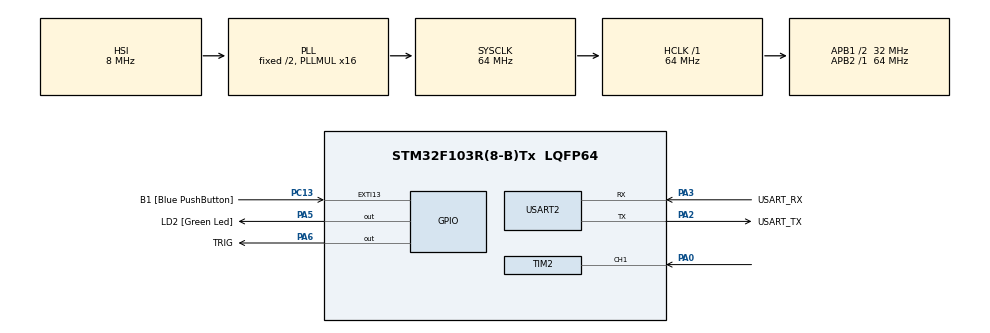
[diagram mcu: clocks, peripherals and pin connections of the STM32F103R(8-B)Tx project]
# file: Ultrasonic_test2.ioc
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Mcu.Family=STM32F1
Mcu.Name=STM32F103R(8-B)Tx
Mcu.Package=LQFP64
NVIC.EXTI15_10_IRQn=true\:0\:0\:false\:false\:true\:true\:true\:true
NVIC.PriorityGroup=NVIC_PRIORITYGROUP_4
NVIC.TIM2_IRQn=true\:0\:0\:false\:false\:true\:true\:true\:true
PA0-WKUP.Signal=S_TIM2_CH1_ETR
PA13.GPIO_Label=TMS
PA13.Mode=Serial_Wire
PA13.Signal=SYS_JTMS-SWDIO
PA14.GPIO_Label=TCK
PA14.Mode=Serial_Wire
PA14.Signal=SYS_JTCK-SWCLK
PA2.GPIO_Label=USART_TX
PA2.GPIO_Mode=GPIO_MODE_AF_PP
PA2.GPIO_PuPd=GPIO_NOPULL
PA2.GPIO_Speed=GPIO_SPEED_FREQ_LOW
PA2.Mode=Asynchronous
PA2.Signal=USART2_TX
PA3.GPIO_Label=USART_RX
PA3.GPIO_Mode=GPIO_MODE_AF_PP
PA3.GPIO_PuPd=GPIO_NOPULL
PA3.GPIO_Speed=GPIO_SPEED_FREQ_LOW
PA3.Mode=Asynchronous
PA3.Signal=USART2_RX
PA5.GPIO_Label=LD2 [Green Led]
PA5.GPIO_ModeDefaultOutputPP=GPIO_MODE_OUTPUT_PP
PA5.GPIO_PuPd=GPIO_NOPULL
PA5.GPIO_Speed=GPIO_SPEED_FREQ_LOW
PA5.Signal=GPIO_Output
PA6.GPIO_Label=TRIG
PA6.Signal=GPIO_Output
PB3.GPIO_Label=SWO
PB3.Signal=SYS_JTDO-TRACESWO
PC13-TAMPER-RTC.GPIO_Label=B1 [Blue PushButton]
PC13-TAMPER-RTC.GPIO_PuPd=GPIO_NOPULL
PC13-TAMPER-RTC.Signal=GPXTI13
PC14-OSC32_IN.Mode=LSE-External-Oscillator
PC14-OSC32_IN.Signal=RCC_OSC32_IN
PC15-OSC32_OUT.Mode=LSE-External-Oscillator
PC15-OSC32_OUT.Signal=RCC_OSC32_OUT
PD0-OSC_IN.Mode=HSE-External-Clock-Source
PD0-OSC_IN.Signal=RCC_OSC_IN
PD1-OSC_OUT.Mode=HSE-External-Clock-Source
PD1-OSC_OUT.Signal=RCC_OSC_OUT
ProjectManager.HeapSize=0x200
ProjectManager.StackSize=0x400
ProjectManager.TargetToolchain=STM32CubeIDE
RCC.AHBFreq_Value=64000000
RCC.APB1CLKDivider=RCC_HCLK_DIV2
RCC.APB1Freq_Value=32000000
RCC.APB1TimFreq_Value=64000000
RCC.APB2Freq_Value=64000000
RCC.APB2TimFreq_Value=64000000
RCC.HCLKFreq_Value=64000000
RCC.PLLMUL=RCC_PLL_MUL16
RCC.RTCClockSelection=RCC_RTCCLKSOURCE_LSE
RCC.SYSCLKFreq_VALUE=64000000
RCC.SYSCLKSource=RCC_SYSCLKSOURCE_PLLCLK
RCC.USBFreq_Value=64000000
SH.S_TIM2_CH1_ETR.0=TIM2_CH1,Input_Capture1_from_TI1
TIM2.Channel-Input_Capture1_from_TI1=TIM_CHANNEL_1
TIM2.Prescaler=64-1
TIM3.Prescaler=64-1
USART2.VirtualMode=VM_ASYNC
VP_TIM2_VS_ClockSourceINT.Mode=Internal
VP_TIM3_VS_ClockSourceINT.Mode=Internal
board=NUCLEO-F103RB

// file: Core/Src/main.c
/* USER CODE BEGIN Header */
/**
  ******************************************************************************
  * @file           : main.c
  * @brief          : Main program body
  ******************************************************************************
  * @attention
  *
  * Copyright (c) 2022 STMicroelectronics.
  * All rights reserved.
  *
  * This software is licensed under terms that can be found in the LICENSE file
  * in the root directory of this software component.
  * If no LICENSE file comes with this software, it is provided AS-IS.
  *
  ******************************************************************************
  */
/* USER CODE END Header */
#include "main.h"

/* USER CODE BEGIN Includes */
#include "stdio.h"
/* USER CODE END Includes */

 TIM_HandleTypeDef htim2;
TIM_HandleTypeDef htim3;

UART_HandleTypeDef huart2;

/* USER CODE BEGIN PV */
uint32_t IC1, IC2;
int captureFlag=0;
float frequency=0;
/* USER CODE END PV */

void SystemClock_Config(void);
static void MX_GPIO_Init(void);
static void MX_USART2_UART_Init(void);
static void MX_TIM2_Init(void);
static void MX_TIM3_Init(void);
/* USER CODE BEGIN PFP */
#ifdef __GNUC__
/* With GCC, small printf (option LD Linker->Libraries->Small printf
   set to 'Yes') calls __io_putchar() */
#define PUTCHAR_PROTOTYPE int __io_putchar(int ch)
#else
#define PUTCHAR_PROTOTYPE int fputc(int ch, FILE *f)
#endif /* __GNUC__ */

PUTCHAR_PROTOTYPE
{
  /* Place your implementation of fputc here */
  /* e.g. write a character to the USART1 and Loop until the end of transmission */
  HAL_UART_Transmit(&huart2, (uint8_t *)&ch, 1, 0xFFFF);

  return ch;
}
/* USER CODE END PFP */

/* USER CODE BEGIN 0 */
void delay_us(uint16_t delay){
	//__HAL_TIM_SET_COUNTER(&htim3, 0);
	TIM3->CNT = 0;
	//while(__HAL_TIM_GET_COUNTER(htim3) < delay);
	while(TIM3->CNT < delay);
}
void Ultrasonic(){
	HAL_GPIO_WritePin(GPIOA, TRIG_Pin, GPIO_PIN_SET);
	delay_us(10);
	HAL_GPIO_WritePin(GPIOA, TRIG_Pin, GPIO_PIN_RESET);
}
/* USER CODE END 0 */

int main(void)
{

  /* MCU Configuration--------------------------------------------------------*/

  /* Reset of all peripherals, Initializes the Flash interface and the Systick. */
  HAL_Init();

  /* Configure the system clock */
  SystemClock_Config();

  /* Initialize all configured peripherals */
  MX_GPIO_Init();
  MX_USART2_UART_Init();
  MX_TIM2_Init();
  MX_TIM3_Init();
  /* USER CODE BEGIN 2 */
  HAL_TIM_Base_Start(&htim3);
  HAL_TIM_IC_Start_IT(&htim2, TIM_CHANNEL_1);
  /* USER CODE END 2 */

  /* Infinite loop */
  while (1)
  {

    /* USER CODE BEGIN 3 */
	  Ultrasonic();
	  printf("Distance:%d cm", distance);
	  HAL_Delay(200);
  }
  /* USER CODE END 3 */
}

void SystemClock_Config(void)
{
  RCC_OscInitTypeDef RCC_OscInitStruct = {0};
  RCC_ClkInitTypeDef RCC_ClkInitStruct = {0};

  /** Initializes the RCC Oscillators according to the specified parameters
  * in the RCC_OscInitTypeDef structure.
  */
  RCC_OscInitStruct.OscillatorType = RCC_OSCILLATORTYPE_HSI;
  RCC_OscInitStruct.HSIState = RCC_HSI_ON;
  RCC_OscInitStruct.HSICalibrationValue = RCC_HSICALIBRATION_DEFAULT;
  RCC_OscInitStruct.PLL.PLLState = RCC_PLL_ON;
  RCC_OscInitStruct.PLL.PLLSource = RCC_PLLSOURCE_HSI_DIV2;
  RCC_OscInitStruct.PLL.PLLMUL = RCC_PLL_MUL16;
  if (HAL_RCC_OscConfig(&RCC_OscInitStruct) != HAL_OK)
  {
    Error_Handler();
  }

  /** Initializes the CPU, AHB and APB buses clocks
  */
  RCC_ClkInitStruct.ClockType = RCC_CLOCKTYPE_HCLK|RCC_CLOCKTYPE_SYSCLK
                              |RCC_CLOCKTYPE_PCLK1|RCC_CLOCKTYPE_PCLK2;
  RCC_ClkInitStruct.SYSCLKSource = RCC_SYSCLKSOURCE_PLLCLK;
  RCC_ClkInitStruct.AHBCLKDivider = RCC_SYSCLK_DIV1;
  RCC_ClkInitStruct.APB1CLKDivider = RCC_HCLK_DIV2;
  RCC_ClkInitStruct.APB2CLKDivider = RCC_HCLK_DIV1;

  if (HAL_RCC_ClockConfig(&RCC_ClkInitStruct, FLASH_LATENCY_2) != HAL_OK)
  {
    Error_Handler();
  }
}

static void MX_TIM2_Init(void)
{

  TIM_ClockConfigTypeDef sClockSourceConfig = {0};
  TIM_MasterConfigTypeDef sMasterConfig = {0};
  TIM_IC_InitTypeDef sConfigIC = {0};

  htim2.Instance = TIM2;
  htim2.Init.Prescaler = 64-1;
  htim2.Init.CounterMode = TIM_COUNTERMODE_UP;
  htim2.Init.Period = 65535;
  htim2.Init.ClockDivision = TIM_CLOCKDIVISION_DIV1;
  htim2.Init.AutoReloadPreload = TIM_AUTORELOAD_PRELOAD_DISABLE;
  if (HAL_TIM_Base_Init(&htim2) != HAL_OK)
  {
    Error_Handler();
  }
  sClockSourceConfig.ClockSource = TIM_CLOCKSOURCE_INTERNAL;
  if (HAL_TIM_ConfigClockSource(&htim2, &sClockSourceConfig) != HAL_OK)
  {
    Error_Handler();
  }
  if (HAL_TIM_IC_Init(&htim2) != HAL_OK)
  {
    Error_Handler();
  }
  sMasterConfig.MasterOutputTrigger = TIM_TRGO_RESET;
  sMasterConfig.MasterSlaveMode = TIM_MASTERSLAVEMODE_DISABLE;
  if (HAL_TIMEx_MasterConfigSynchronization(&htim2, &sMasterConfig) != HAL_OK)
  {
    Error_Handler();
  }
  sConfigIC.ICPolarity = TIM_INPUTCHANNELPOLARITY_RISING;
  sConfigIC.ICSelection = TIM_ICSELECTION_DIRECTTI;
  sConfigIC.ICPrescaler = TIM_ICPSC_DIV1;
  sConfigIC.ICFilter = 0;
  if (HAL_TIM_IC_ConfigChannel(&htim2, &sConfigIC, TIM_CHANNEL_1) != HAL_OK)
  {
    Error_Handler();
  }

}

static void MX_TIM3_Init(void)
{

  TIM_ClockConfigTypeDef sClockSourceConfig = {0};
  TIM_MasterConfigTypeDef sMasterConfig = {0};

  htim3.Instance = TIM3;
  htim3.Init.Prescaler = 64-1;
  htim3.Init.CounterMode = TIM_COUNTERMODE_UP;
  htim3.Init.Period = 65535;
  htim3.Init.ClockDivision = TIM_CLOCKDIVISION_DIV1;
  htim3.Init.AutoReloadPreload = TIM_AUTORELOAD_PRELOAD_DISABLE;
  if (HAL_TIM_Base_Init(&htim3) != HAL_OK)
  {
    Error_Handler();
  }
  sClockSourceConfig.ClockSource = TIM_CLOCKSOURCE_INTERNAL;
  if (HAL_TIM_ConfigClockSource(&htim3, &sClockSourceConfig) != HAL_OK)
  {
    Error_Handler();
  }
  sMasterConfig.MasterOutputTrigger = TIM_TRGO_RESET;
  sMasterConfig.MasterSlaveMode = TIM_MASTERSLAVEMODE_DISABLE;
  if (HAL_TIMEx_MasterConfigSynchronization(&htim3, &sMasterConfig) != HAL_OK)
  {
    Error_Handler();
  }

}

static void MX_USART2_UART_Init(void)
{

  huart2.Instance = USART2;
  huart2.Init.BaudRate = 115200;
  huart2.Init.WordLength = UART_WORDLENGTH_8B;
  huart2.Init.StopBits = UART_STOPBITS_1;
  huart2.Init.Parity = UART_PARITY_NONE;
  huart2.Init.Mode = UART_MODE_TX_RX;
  huart2.Init.HwFlowCtl = UART_HWCONTROL_NONE;
  huart2.Init.OverSampling = UART_OVERSAMPLING_16;
  if (HAL_UART_Init(&huart2) != HAL_OK)
  {
    Error_Handler();
  }

}

static void MX_GPIO_Init(void)
{
  GPIO_InitTypeDef GPIO_InitStruct = {0};

  /* GPIO Ports Clock Enable */
  __HAL_RCC_GPIOC_CLK_ENABLE();
  __HAL_RCC_GPIOD_CLK_ENABLE();
  __HAL_RCC_GPIOA_CLK_ENABLE();
  __HAL_RCC_GPIOB_CLK_ENABLE();

  /*Configure GPIO pin Output Level */
  HAL_GPIO_WritePin(GPIOA, LD2_Pin|TRIG_Pin, GPIO_PIN_RESET);

  /*Configure GPIO pin : B1_Pin */
  GPIO_InitStruct.Pin = B1_Pin;
  GPIO_InitStruct.Mode = GPIO_MODE_IT_RISING;
  GPIO_InitStruct.Pull = GPIO_NOPULL;
  HAL_GPIO_Init(B1_GPIO_Port, &GPIO_InitStruct);

  /*Configure GPIO pins : LD2_Pin TRIG_Pin */
  GPIO_InitStruct.Pin = LD2_Pin|TRIG_Pin;
  GPIO_InitStruct.Mode = GPIO_MODE_OUTPUT_PP;
  GPIO_InitStruct.Pull = GPIO_NOPULL;
  GPIO_InitStruct.Speed = GPIO_SPEED_FREQ_LOW;
  HAL_GPIO_Init(GPIOA, &GPIO_InitStruct);

  /* EXTI interrupt init*/
  HAL_NVIC_SetPriority(EXTI15_10_IRQn, 0, 0);
  HAL_NVIC_EnableIRQ(EXTI15_10_IRQn);

}

/* USER CODE BEGIN 4 */
void HAL_TIM_IC_CaptureCallback(TIM_HandleTypeDef *htim){ // will be operated when RISING edge
	if(htim->Channel == HAL_TIM_ACTIVE_CHANNEL_1)
	{
		if(captureFlag == 0)
		{
			IC1 = TIM2->CCR1;
			captureFlag = 1;
			 TIM2->CCER |=0x02;
		}
		else if(captureFlag == 1)
		{
			IC2 = TIM2->CCR1;
			__HAL_TIM_SET_COUNTER(&htim2, 0);
			if(IC1 > IC2){
				t_us = (0xffffffff - IC1 )+2;
			}
			frequency = (IC2 - IC1); // 0.000001 = psr/clk
												  // psr = 64, clk = 64000000

			captureFlag = 0;
//					__HAL_TIM_SET_POLARITY(TIM_INPUTCHANNELPOLARITY_FALLING);
			 TIM2->CCER &= ~(1<<1);
			  printf("%f\n\r", frequency);
		}
	}
}
/* USER CODE END 4 */

void Error_Handler(void)
{
  __disable_irq();
  while (1)
  {
  }
}
